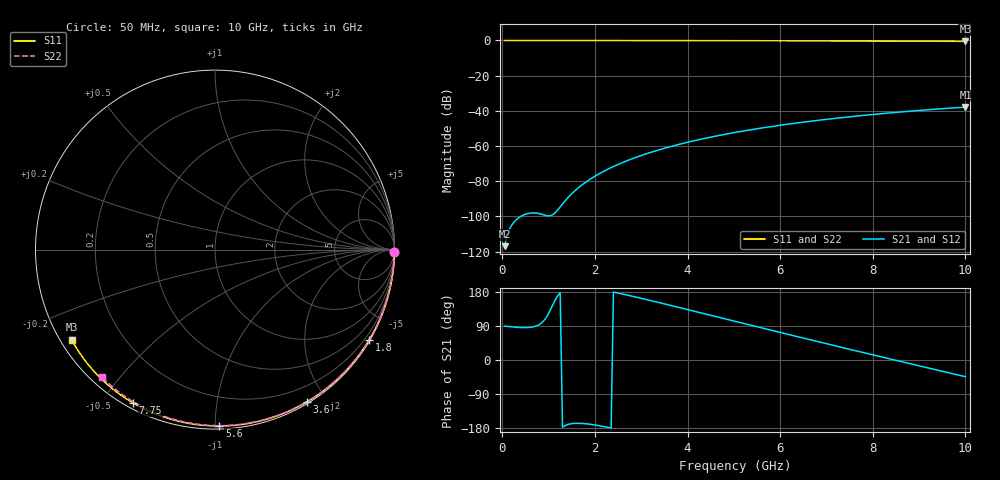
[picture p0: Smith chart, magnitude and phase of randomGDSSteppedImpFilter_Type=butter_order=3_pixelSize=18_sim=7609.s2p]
! freq	dB(S11)	phase(S11)	dB(S12)	phase(S12)
!  dB(S21)	phase(S21)	dB(S22)	phase(S22)
!S-par simulation data
#  GHz  S  DB  R 50
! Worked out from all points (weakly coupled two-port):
!   200 points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, 50 MHz to 10 GHz, reference 50 ohm
!   highest |S21| = -37.85 dB at 10 GHz (marker M1); lowest = -116.9 dB at 50 MHz (marker M2)
!   lowest |S11| = -0.5 dB at 10 GHz (marker M3), VSWR 34.60, Z = 1.57 - j14.4 ohm
!   |S11| at or under -10 dB: nowhere
!   |S22| runs from -0.4 to 0.0 dB; largest |S21 - S12| = 0
!   S11 on the Smith chart (normalised r, x): 50 MHz: open; 1.8 GHz: 0.03, -3.70; 3.6 GHz: 0.02, -1.77; 5.6 GHz: 0.02, -1.02; 7.75 GHz: 0.02, -0.60; 10 GHz: 0.03, -0.29
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0.05  -0.00 -0.9  -116.87 89.3  -116.87 89.3  -0.00 -0.8
0.45  -0.01 -7.7  -99.26 85.4  -99.26 85.4  -0.01 -6.8
0.9  -0.02 -15.3  -99.11 104.0  -99.11 104.0  -0.02 -13.6
1.75  -0.04 -29.4  -81.48 -167.6  -81.48 -167.6  -0.03 -26.2
1.8  -0.04 -30.2  -80.52 -168.2  -80.52 -168.2  -0.03 -27.0
1.85  -0.04 -31.0  -79.62 -168.8  -79.62 -168.8  -0.04 -27.7
2.05  -0.04 -34.3  -76.33 -172.4  -76.33 -172.4  -0.04 -30.6
2.2  -0.05 -36.8  -74.18 -175.7  -74.18 -175.7  -0.04 -32.8
2.55  -0.05 -42.4  -69.86 175.4  -69.86 175.4  -0.05 -37.9
2.95  -0.06 -48.8  -65.81 164.2  -65.81 164.2  -0.06 -43.6
3.4  -0.07 -55.9  -62.01 151.1  -62.01 151.1  -0.07 -49.9
3.6  -0.08 -59.0  -60.52 145.1  -60.52 145.1  -0.07 -52.7
4.3  -0.10 -69.6  -56.04 124.1  -56.04 124.1  -0.09 -62.3
5.05  -0.12 -80.7  -52.15 101.4  -52.15 101.4  -0.11 -72.3
5.6  -0.15 -88.6  -49.74 84.8  -49.74 84.8  -0.13 -79.4
6.15  -0.17 -96.3  -47.63 68.2  -47.63 68.2  -0.15 -86.3
6.7  -0.20 -103.9  -45.75 51.8  -45.75 51.8  -0.18 -93.1
7.2  -0.23 -110.7  -44.22 37.0  -44.22 37.0  -0.21 -99.2
7.75  -0.27 -118.1  -42.70 20.9  -42.70 20.9  -0.24 -105.7
8.35  -0.32 -126.0  -41.21 3.5  -41.21 3.5  -0.29 -112.7
9.2  -0.41 -137.2  -39.35 -21.1  -39.35 -21.1  -0.36 -122.5
10  -0.50 -147.8  -37.85 -44.0  -37.85 -44.0  -0.45 -131.5
